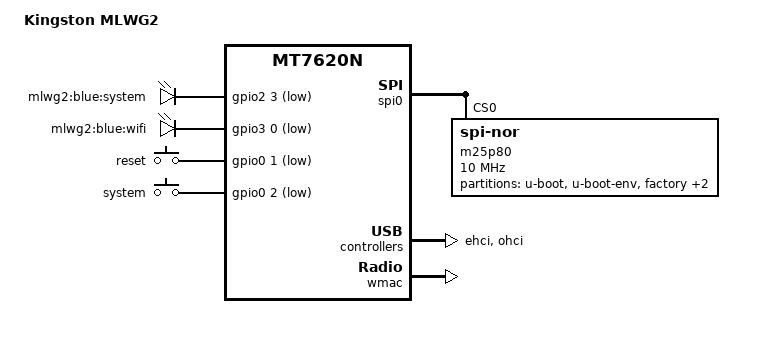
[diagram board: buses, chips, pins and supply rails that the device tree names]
/dts-v1/;

#include "mt7620n.dtsi"

#include <dt-bindings/gpio/gpio.h>
#include <dt-bindings/input/input.h>

/ {
	compatible = "kingston,mlwg2", "ralink,mt7620n-soc";
	model = "Kingston MLWG2";

	aliases {
		led-status = &led_system;
	};

	gpio-leds {
		compatible = "gpio-leds";

		led_system: system {
			label = "mlwg2:blue:system";
			gpios = <&gpio2 3 GPIO_ACTIVE_LOW>;
		};

		wifi {
			label = "mlwg2:blue:wifi";
			gpios = <&gpio3 0 GPIO_ACTIVE_LOW>;
		};
	};

	gpio-keys-polled {
		compatible = "gpio-keys-polled";
		poll-interval = <20>;

		reset {
			label = "reset";
			gpios = <&gpio0 1 GPIO_ACTIVE_LOW>;
			linux,code = <KEY_RESTART>;
		};

		system {
			label = "system";
			gpios = <&gpio0 2 GPIO_ACTIVE_LOW>;
			linux,code = <KEY_RFKILL>;
		};
	};
};

&gpio0 {
	status = "okay";
};

&gpio2 {
	status = "okay";
};

&gpio3 {
	status = "okay";
};

&spi0 {
	status = "okay";

	m25p80@0 {
		compatible = "jedec,spi-nor";
		reg = <0>;
		spi-max-frequency = <10000000>;

		partitions {
			compatible = "fixed-partitions";
			#address-cells = <1>;
			#size-cells = <1>;

			partition@0 {
				label = "u-boot";
				reg = <0x0 0x30000>;
				read-only;
			};

			partition@30000 {
				label = "u-boot-env";
				reg = <0x30000 0x10000>;
				read-only;
			};

			factory: partition@40000 {
				label = "factory";
				reg = <0x40000 0x10000>;
				read-only;
			};

			partition@50000 {
				label = "firmware";
				reg = <0x50000 0xf60000>;
			};

			partition@fb0000 {
				label = "user-config";
				reg = <0xfb0000 0x50000>;
			};
		};
	};
};

&ehci {
	status = "okay";
};

&ohci {
	status = "okay";
};

&ethernet {
	mtd-mac-address = <&factory 0x4>;
	mediatek,portmap = "wllll";
};

&wmac {
	ralink,mtd-eeprom = <&factory 0>;
};

&pinctrl {
	state_default: pinctrl0 {
		default {
			ralink,group = "i2c", "ephy", "wled";
			ralink,function = "gpio";
		};
	};
};
